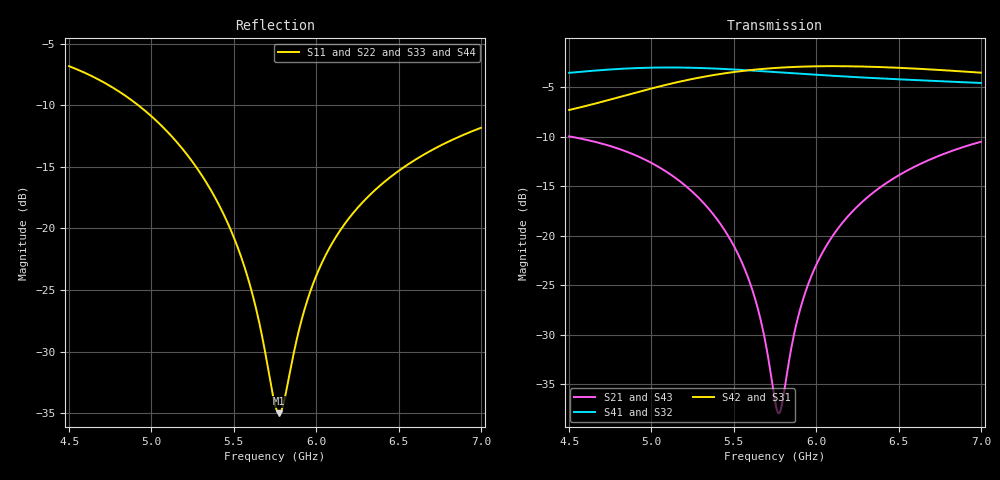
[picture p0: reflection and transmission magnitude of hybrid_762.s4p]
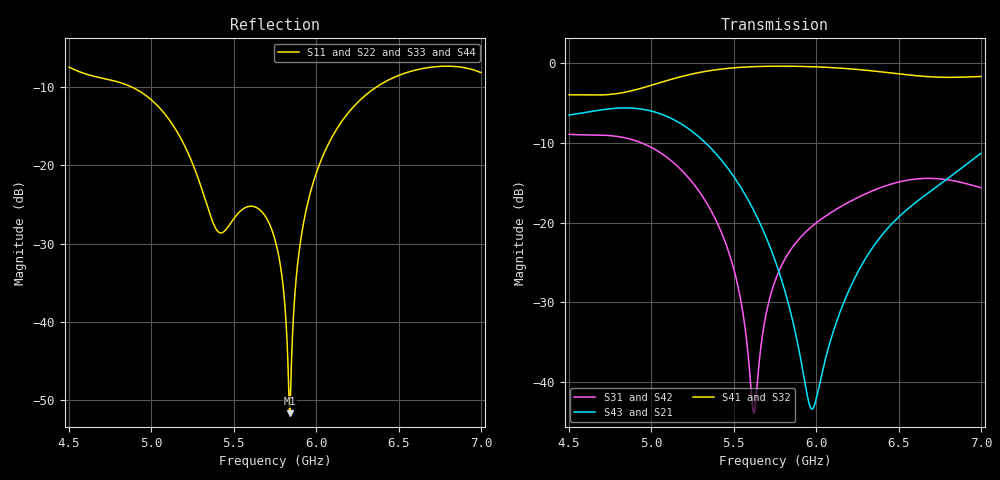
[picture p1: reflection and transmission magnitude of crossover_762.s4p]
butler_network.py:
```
# -*- coding: utf-8 -*-
"""
8x8 Butler matrix network calculation (planar layout with 16 crossovers).

Inputs : s-parameters/hybrid_762.s4p and s-parameters/crossover_762.s4p
         (if the crossover file is missing, the crossover is computed from
         two hybrids in cascade).
Outputs: column amplitude/phase for each input -> s-parameters/butler_weights_762.txt,
         printed beam angle and side-lobe level of the array factor,
         results/cst/butler_array_factor.png (if matplotlib is installed).

Run from the project folder:
    python scripts/butler_network.py          (5.80 GHz)
    python scripts/butler_network.py 5.75     (other frequency)
Requires: Python 3 + numpy (matplotlib optional, for the plot)
"""
import os
import sys
import numpy as np

sys.path.insert(0, os.path.dirname(os.path.abspath(__file__)))
from common import read_touchstone  # noqa: E402

F0 = float(sys.argv[1]) if len(sys.argv) > 1 else 5.8
ROOT = os.path.dirname(os.path.dirname(os.path.abspath(__file__)))
SPAR_DIR = os.path.join(ROOT, "s-parameters")
OUT_DIR = os.path.join(ROOT, "results", "cst")


def crossover_from_two_hybrids(SA, SB, line_deg=90.0):
    """Ports 3,4 of hybrid A connected to ports 1,2 of hybrid B by ideal 50 ohm lines."""
    S = np.zeros((8, 8), complex)
    S[:4, :4] = SA
    S[4:, 4:] = SB
    t = np.exp(-1j * np.deg2rad(line_deg))
    ext, inner = [0, 1, 6, 7], [2, 3, 4, 5]
    C = np.zeros((4, 4), complex)
    C[0, 2] = C[2, 0] = t
    C[1, 3] = C[3, 1] = t
    See = S[np.ix_(ext, ext)]
    Sei = S[np.ix_(ext, inner)]
    Sie = S[np.ix_(inner, ext)]
    Sii = S[np.ix_(inner, inner)]
    return See + Sei @ C @ np.linalg.solve(np.eye(4) - Sii @ C, Sie)


fh, Sh = read_touchstone(os.path.join(SPAR_DIR, "hybrid_762.s4p"))
k = np.argmin(abs(fh - F0))
H = Sh[k]
xfile = os.path.join(SPAR_DIR, "crossover_762.s4p")
if os.path.exists(xfile) or os.path.exists(xfile + ".zip"):
    fx, Sx = read_touchstone(xfile)
    X = Sx[np.argmin(abs(fx - F0))]
    source = "crossover_762.s4p (CST)"
else:
    X = crossover_from_two_hybrids(H, H, 90 * F0 / 5.8)
    source = "computed from two hybrids"


def db(x):
    return 20 * np.log10(abs(x))


print("Frequency: %.3f GHz" % fh[k])
print("Hybrid   : S31 %.2f dB, S41 %.2f dB, phase difference %.1f deg" %
      (db(H[2, 0]), db(H[3, 0]), (np.angle(H[2, 0] / H[3, 0], deg=True))))
print("Crossover (%s): through %.2f dB, straight leakage S31 %.1f dB, S11 %.1f dB" %
      (source, db(X[3, 0]), db(X[2, 0]), db(X[0, 0])))

# ---------------------------------------------------------------- layout plan
S1 = [(0, 4), (1, 5), (2, 6), (3, 7)]
S2 = [(0, 2), (1, 3), (4, 6), (5, 7)]
S3 = [(0, 1), (2, 3), (4, 5), (6, 7)]
INPUT_ORDER = [0, 4, 2, 6, 1, 5, 3, 7]          # physical input order, left to right
PLAN = [  # (stage name, hybrid pairs, crossover layers placed before this stage)
    ("stage1", S1, []),
    ("stage2", S2, [[1, 3, 5], [2, 4], [3]]),     # position indices (from 0): p <-> p+1
    ("stage3", S3, [[1, 5]]),
    ("output", None, [[1, 3, 5], [2, 4], [1, 3, 5]]),
]
DELAY_12 = np.array([90, 90, 0, 0, 0, 45, 0, 45.])    # delay by line label (deg)
DELAY_23 = np.array([90, 0, 0, 0, 90, 0, 0, 0.])
DELAY_COL = np.array([0, 22.5, 45, 67.5, 0, 22.5, 45, 67.5])


def butler(H, X, f=F0):
    T = H[2:, :2]
    Xc = X[2:, :2]
    comp = np.exp(1j * np.angle(X[3, 0]))           # equal phase on lines that skip a crossover
    M = np.zeros((8, 8), complex)
    for inp in range(8):
        v = np.zeros(8, complex)
        lab = list(INPUT_ORDER)
        v[lab.index(inp)] = 1
        for name, pairs, layers in PLAN:
            for sw in layers:
                nv = v * comp
                nl = lab[:]
                for p in sw:
                    a, b = v[p], v[p + 1]
                    nv[p] = Xc[0, 0] * a + Xc[0, 1] * b
                    nv[p + 1] = Xc[1, 0] * a + Xc[1, 1] * b
                    nl[p], nl[p + 1] = lab[p + 1], lab[p]
                v, lab = nv, nl
            if pairs is None:
                break
            idx = {lbl: i for i, lbl in enumerate(lab)}
            for p, q in pairs:
                a, b = idx[p], idx[q]
                x, y = v[a], v[b]
                v[a] = T[0, 0] * x + T[0, 1] * y
                v[b] = T[1, 0] * x + T[1, 1] * y
            g = {"stage1": DELAY_12, "stage2": DELAY_23, "stage3": np.zeros(8)}[name]
            v = v * np.exp(-1j * np.deg2rad(np.array([g[lbl] for lbl in lab]) * f / 5.8))
        M[:, inp] = v * np.exp(-1j * np.deg2rad(DELAY_COL * f / 5.8))
    return M


M = butler(H, X)

# ---------------------------------------------------------------- results
th = np.linspace(-90, 90, 3601)
n = np.arange(8)


def beam(w):
    af = np.abs(np.exp(1j * np.pi * np.outer(np.sin(np.deg2rad(th)), n)) @ w)
    af = 20 * np.log10(af / af.max() + 1e-12)
    peak = th[np.argmax(af)]
    local = [af[i] for i in range(1, len(af) - 1) if af[i] > af[i - 1] and af[i] > af[i + 1]]
    sll = sorted(local)[-2] if len(local) > 1 else -99
    return peak, sll, af


print("\nInput | amplitude range (dB) | mean phase step | phase deviation | beam | side lobe")
curves = []
for i in range(8):
    w = M[:, i]
    a = db(w)
    d = np.diff(np.angle(w, deg=True))
    d = (d + 180) % 360 - 180
    peak, sll, af = beam(w)
    curves.append(af)
    print("  %d   | %6.2f .. %6.2f      | %7.1f         | +/-%5.1f         | %6.1f | %5.1f dB"
          % (i + 1, a.min(), a.max(), d.mean(), np.abs(d - d.mean()).max(), peak, sll))

# ---------------------------------------------------------------- weights file
lines = [
    "Butler weights (0.762 mm, hybrid_762 + crossover_762, %.2f GHz)" % fh[k],
    "CST: Post-Processing > Combine Results. For each Butler input enter the",
    "amplitude and phase of the 8 ports as below (Port n = column n, left to right).",
    "Input 1 ~ +7 deg, 2 ~ +22, 3 ~ +39, 4 ~ +61, 5 ~ -61, 6 ~ -39, 7 ~ -22, 8 ~ -6",
    "",
]
for i in range(8):
    w = M[:, i]
    a = abs(w) / abs(w).max()
    p = np.angle(w, deg=True)
    p = (p - p[0] + 180) % 360 - 180
    lines.append("Input %d:" % (i + 1))
    for c in range(8):
        lines.append("   Port %d  amplitude %.3f  phase %7.1f" % (c + 1, a[c], p[c]))
wfile = os.path.join(SPAR_DIR, "butler_weights_762.txt" if abs(F0 - 5.8) < 1e-6 else "butler_weights_762_%.2fGHz.txt" % F0)
with open(wfile, "w") as fo:
    fo.write("\n".join(lines) + "\n")
print("\nWeights written:", wfile)

try:
    import matplotlib
    matplotlib.use("Agg")
    import matplotlib.pyplot as plt
    plt.figure(figsize=(9, 5))
    for i, af in enumerate(curves):
        plt.plot(th, af, label="input %d" % (i + 1))
    plt.ylim(-40, 2)
    plt.xlim(-90, 90)
    plt.grid(alpha=.3)
    plt.xlabel("Angle from broadside (deg)")
    plt.ylabel("Normalized array factor (dB)")
    plt.title("8x8 Butler matrix, 16 crossovers, %.2f GHz (CST hybrid + crossover)" % fh[k])
    plt.legend(ncol=4, fontsize=8)
    os.makedirs(OUT_DIR, exist_ok=True)
    out = os.path.join(OUT_DIR, "butler_array_factor.png")
    plt.savefig(out, dpi=130, bbox_inches="tight")
    print("Plot saved:", out)
except ImportError:
    print("(matplotlib not installed, no plot)")
```
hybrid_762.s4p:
! TOUCHSTONE file generated by CST MICROWAVE STUDIO
! Date and time: Tue Sep 29 18:59:09 2026
! Project name: project2.cst
! Parameters = {Lf=10; a=9.6432; b=9.8112; h=0.762; s=1.12; t=0.035; w35=3.44; w50=2.1}
! Header version: 2024
! Port assignment regex: !\s*Touchstone port\s*([0-9]+)\s*=\s*(CST MWS port|CST DES external port|CST DES block port)\s*(.+)\s* \(\"(.*)\"\)(\s*mode\s*([0-9]+))?.*
! Touchstone port assignment:
! Touchstone port 1 = CST MWS port 1 ("")
! Touchstone port 2 = CST MWS port 2 ("")
! Touchstone port 3 = CST MWS port 3 ("")
! Touchstone port 4 = CST MWS port 4 ("")
# GHz S MA R 50
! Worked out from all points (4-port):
!   5001 points, 4.5 GHz to 7 GHz, reference 50 ohm
!   strongest paths, dB at 4.5 GHz, 5.125 GHz, 5.75 GHz, 6.375 GHz, 7 GHz:
!     S42: -7.3, -4.6, -3.0, -2.9, -3.5
!     S31: -7.3, -4.6, -3.0, -2.9, -3.5
!     S41: -3.5, -3.0, -3.4, -4.1, -4.5
!     S32: -3.5, -3.0, -3.4, -4.1, -4.5
!     S21: -9.9, -13.9, -36.7, -15.3, -10.5
!     S43: -9.9, -13.9, -36.7, -15.3, -10.5
!   lowest |S11| = -35.0 dB at 5.775 GHz (marker M1), VSWR 1.04, Z = 51.1 - j1.43 ohm
!   |S11| at or under -10 dB: 4.92 GHz to end of sweep
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4.5  0.4555 -42.5  0.3182 85.2  0.4326 133.4  0.6664 63.7
     0.3182 85.2  0.4555 -42.5  0.6664 63.7  0.4326 133.4
     0.4326 133.4  0.6664 63.7  0.4555 -42.5  0.3182 85.2
     0.6664 63.7  0.4326 133.4  0.3182 85.2  0.4555 -42.5
5.775  0.01779 -51.9  0.0127 -123.8  0.7074 49.0  0.6705 -39.9
       0.0127 -123.8  0.01779 -51.9  0.6705 -39.9  0.7074 49.0
       0.7074 49.0  0.6705 -39.9  0.01779 -51.9  0.01273 -123.9
       0.6705 -39.9  0.7074 49.0  0.01273 -123.9  0.01779 -51.9
7  0.2561 -36.8  0.2989 47.7  0.6676 -38.9  0.5924 -128.9
   0.2989 47.7  0.2561 -36.8  0.5924 -128.9  0.6676 -38.9
   0.6676 -38.9  0.5924 -128.9  0.2561 -36.8  0.2989 47.7
   0.5924 -128.9  0.6676 -38.9  0.2989 47.7  0.2561 -36.8
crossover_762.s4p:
! TOUCHSTONE file generated by CST MICROWAVE STUDIO
! Date and time: Tue Sep 29 18:59:27 2026
! Project name: crossover2h.cst
! Parameters = {Lf=10; a=9.6432; b=9.8112; dx=31.7432; h=0.762; s=1.12; t=0.035; w35=3.44; w50=2.1}
! Header version: 2024
! Port assignment regex: !\s*Touchstone port\s*([0-9]+)\s*=\s*(CST MWS port|CST DES external port|CST DES block port)\s*(.+)\s* \(\"(.*)\"\)(\s*mode\s*([0-9]+))?.*
! Touchstone port assignment:
! Touchstone port 1 = CST MWS port 1 ("")
! Touchstone port 2 = CST MWS port 2 ("")
! Touchstone port 3 = CST MWS port 3 ("")
! Touchstone port 4 = CST MWS port 4 ("")
# GHz S MA R 50
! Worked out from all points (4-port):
!   5001 points, 4.5 GHz to 7 GHz, reference 50 ohm
!   strongest paths, dB at 4.5 GHz, 5.125 GHz, 5.75 GHz, 6.375 GHz, 7 GHz:
!     S41: -4.0, -2.0, -0.4, -1.1, -1.7
!     S32: -4.0, -2.0, -0.4, -1.1, -1.7
!     S43: -6.5, -7.0, -24.7, -22.2, -11.3
!     S21: -6.5, -7.0, -24.7, -22.2, -11.3
!     S31: -8.9, -12.3, -27.3, -15.7, -15.6
!     S42: -8.9, -12.3, -27.3, -15.7, -15.6
!   lowest |S11| = -51.7 dB at 5.84 GHz (marker M1), VSWR 1.01, Z = 50.3 + j0.00638 ohm
!   |S11| at or under -10 dB: 4.879 GHz to 6.367 GHz (1.488 GHz wide, 26.5 % of centre)
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4.5  0.423 -55.4  0.4722 120.2  0.3581 162.0  0.6324 -174.3
     0.4722 120.2  0.423 -55.4  0.6324 -174.3  0.358 162.0
     0.3581 162.0  0.6324 -174.3  0.423 -55.4  0.4722 120.2
     0.6324 -174.3  0.358 162.0  0.4722 120.2  0.423 -55.4
5.8395  0.002604 1.4  0.02885 -83.2  0.0663 77.2  0.956 -1.6
        0.02885 -83.2  0.00259 1.9  0.956 -1.6  0.0663 77.2
        0.0663 77.2  0.956 -1.6  0.002599 1.8  0.02885 -83.3
        0.956 -1.6  0.0663 77.2  0.02885 -83.3  0.002579 1.3
7  0.3905 -83.7  0.2722 87.4  0.1657 -125.0  0.8245 -165.5
   0.2722 87.4  0.3905 -83.7  0.8245 -165.5  0.1656 -125.0
   0.1657 -125.0  0.8245 -165.5  0.3905 -83.7  0.2722 87.4
   0.8245 -165.5  0.1656 -125.0  0.2722 87.4  0.3905 -83.7
